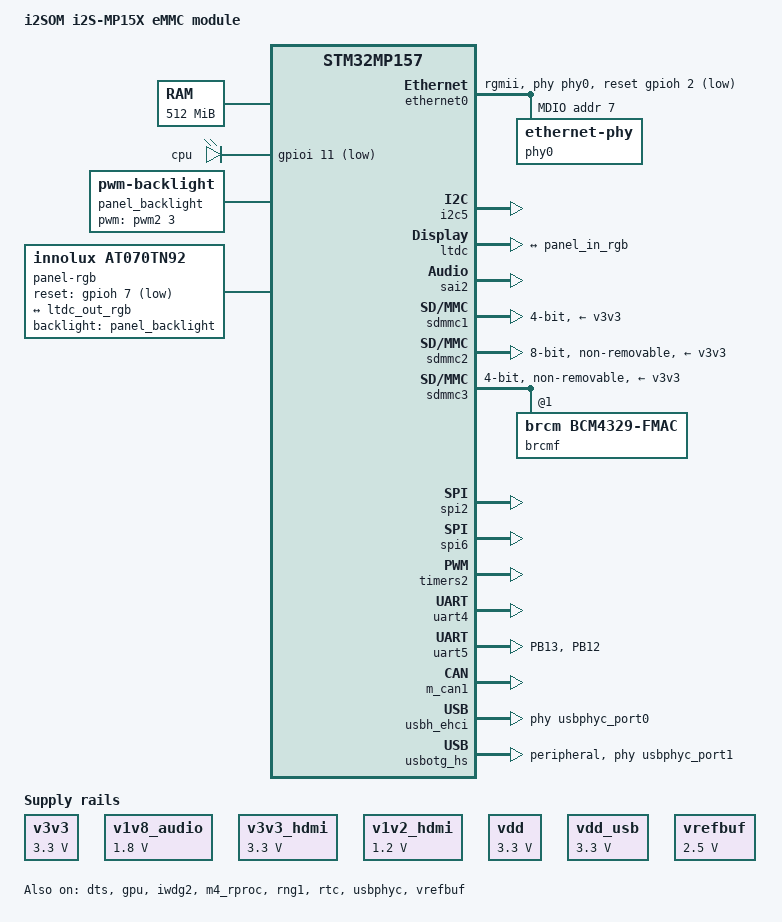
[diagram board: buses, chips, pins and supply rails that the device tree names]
// SPDX-License-Identifier: (GPL-2.0+ OR BSD-3-Clause)
/*
 * Copyright (C) STMicroelectronics 2018 - All Rights Reserved
 * Author: Alexandre Torgue <alexandre.torgue@st.com>.
 */

/dts-v1/;

#include "stm32mp157c.dtsi"
#include "stm32mp157c-m4-srm.dtsi"
#include "stm32mp157caa-pinctrl.dtsi"
#include <dt-bindings/gpio/gpio.h>
#include <dt-bindings/input/input.h>

/ {
	model = "i2SOM i2S-MP15X eMMC module";
	compatible = "i2som,i2cmp15xbe", "st,stm32mp157";

	aliases {
		ethernet0 = &ethernet0;
		serial0 = &uart4;
	};

	chosen {
		stdout-path = "serial0:115200n8";
	};

	memory@c0000000 {
		reg = <0xc0000000 0x20000000>;
	};

	reserved-memory {
		#address-cells = <1>;
		#size-cells = <1>;
		ranges;

		retram: retram@0x38000000 {
			compatible = "shared-dma-pool";
			reg = <0x38000000 0x10000>;
			no-map;
		};

		mcuram: mcuram@0x30000000 {
			compatible = "shared-dma-pool";
			reg = <0x30000000 0x40000>;
			no-map;
		};

		mcuram2: mcuram2@0x10000000 {
			compatible = "shared-dma-pool";
			reg = <0x10000000 0x40000>;
			no-map;
		};

		vdev0vring0: vdev0vring0@10040000 {
			compatible = "shared-dma-pool";
			reg = <0x10040000 0x2000>;
			no-map;
		};

		vdev0vring1: vdev0vring1@10042000 {
			compatible = "shared-dma-pool";
			reg = <0x10042000 0x2000>;
			no-map;
		};

		vdev0buffer: vdev0buffer@10044000 {
			compatible = "shared-dma-pool";
			reg = <0x10044000 0x4000>;
			no-map;
		};

		gpu_reserved: gpu@dc000000 {
			reg = <0xdc000000 0x4000000>;
			no-map;
		};
	};

	sram: sram@10050000 {
		compatible = "mmio-sram";
		reg = <0x10050000 0x10000>;
		#address-cells = <1>;
		#size-cells = <1>;
		ranges = <0 0x10050000 0x10000>;

		dma_pool: dma_pool@0 {
			reg = <0x0 0x10000>;
			pool;
		};
	};

	usb_phy_tuning: usb-phy-tuning {
		st,hs-dc-level = <2>;
		st,fs-rftime-tuning;
		st,hs-rftime-reduction;
		st,hs-current-trim = <15>;
		st,hs-impedance-trim = <1>;
		st,squelch-level = <3>;
		st,hs-rx-offset = <2>;
		st,no-lsfs-sc;
	};

	v3v3: regulator-3p3v {
		compatible = "regulator-fixed";
		regulator-name = "v3v3";
		regulator-min-microvolt = <3300000>;
		regulator-max-microvolt = <3300000>;
		regulator-always-on;
		regulator-boot-on;
	};

	v1v8_audio: regulator-v1v8-audio {
		compatible = "regulator-fixed";
		regulator-name = "v1v8_audio";
		regulator-min-microvolt = <1800000>;
		regulator-max-microvolt = <1800000>;
		regulator-always-on;
		regulator-boot-on;
	};

	v3v3_hdmi: regulator-v3v3-hdmi {
		compatible = "regulator-fixed";
		regulator-name = "v3v3_hdmi";
		regulator-min-microvolt = <3300000>;
		regulator-max-microvolt = <3300000>;
		regulator-always-on;
		regulator-boot-on;
	};

	v1v2_hdmi: regulator-v1v2-hdmi {
		compatible = "regulator-fixed";
		regulator-name = "v1v2_hdmi";
		regulator-min-microvolt = <1200000>;
		regulator-max-microvolt = <1200000>;
		regulator-always-on;
		regulator-boot-on;
	};

	vdd: regulator-vdd {
		compatible = "regulator-fixed";
		regulator-name = "vdd";
		regulator-min-microvolt = <3300000>;
		regulator-max-microvolt = <3300000>;
		regulator-always-on;
		regulator-boot-on;
	};

	vdd_usb: regulator-vdd-usb {
		compatible = "regulator-fixed";
		regulator-name = "vdd_usb";
		regulator-min-microvolt = <3300000>;
		regulator-max-microvolt = <3300000>;
		regulator-always-on;
		regulator-boot-on;
	};

	led {
		compatible = "gpio-leds";
		cpu {
			label = "cpu";
			gpios = <&gpioi 11 GPIO_ACTIVE_LOW>;
			linux,default-trigger = "heartbeat";
			default-state = "on";
		};
	};

	sound {
		compatible = "audio-graph-card";
		label = "wm8904-KenQue";
		mclk-fs = <256>;
		dai-format = "i2s";
		simple-audio-card,widgets =
			"Microphone", "Mic Jack",
			"Line", "Line In Jack",
			"Headphone", "Headphone Jack";
		simple-audio-card,routing =
			"Headphone Jack", "HPOUTL",
			"Headphone Jack", "HPOUTR",
			"MICBIAS", "Mic Jack",
			"IN1L", "MICBIAS",
			"IN2L", "Line In Jack",
			"IN2R", "Line In Jack";
		dais = <&sai2a_port &sai2b_port>;
		status = "okay";
	};


	panel_backlight: panel-backlight {
		compatible = "pwm-backlight";
		pwms = <&pwm2 3 5000000>;
		brightness-levels = <0 4 8 16 32 64 128 255>;
		default-brightness-level = <6>;
		status = "okay";
	};

	panel-rgb {
		compatible = "innolux,at070tn92";
		pinctrl-names = "default", "sleep";
		pinctrl-0 = <&ltdc_pins_c>;
		pinctrl-1 = <&ltdc_pins_sleep_c>;
		backlight = <&panel_backlight>;
		reset-gpios = <&gpioh 7 GPIO_ACTIVE_LOW>;
		status = "okay";

		port {
			panel_in_rgb: endpoint {
				remote-endpoint = <&ltdc_out_rgb>;
			};
		};
	};

	wifi-module {
		power-gpios = <&gpiog 10 GPIO_ACTIVE_LOW>;
		wifi-reg-gpios = <&gpiof 2 GPIO_ACTIVE_HIGH>;
		bt-reg-gpios = <&gpiog 3 GPIO_ACTIVE_HIGH>;
	};

	lte-module {
		power-gpios = <&gpiog 1 GPIO_ACTIVE_HIGH>;
	};
};

&pinctrl {

	pwm2_pins_b: pwm2-0 {
		pins {
			pinmux = <STM32_PINMUX('A', 3, AF1)>; /* TIM2_CH4 */
			bias-pull-down;
			drive-push-pull;
			slew-rate = <0>;
		};
	};

	pwm2_sleep_pins_b: pwm2-sleep-0 {
		pins {
			pinmux = <STM32_PINMUX('A', 3, ANALOG)>; /* TIM2_CH4 */
		};
	};

	uart5_pins_a: uart5-0 {
		pins1 {
			pinmux = <STM32_PINMUX('B', 13, AF14)>; /* UART5_TX */
			bias-disable;
			drive-push-pull;
			slew-rate = <0>;
		};
		pins2 {
			pinmux = <STM32_PINMUX('B', 12, AF14)>; /* UART5_RX */
			bias-disable;
		};
	};

	uart5_idle_pins_a: uart5-idle-0 {
		pins1 {
			pinmux = <STM32_PINMUX('B', 13, ANALOG)>; /* UART5_TX */
		};
		pins2 {
			pinmux = <STM32_PINMUX('B', 12, AF7)>; /* UART5_RX */
			bias-disable;
		};
	};

	uart5_sleep_pins_a: uart5-sleep-0 {
		pins {
			pinmux = <STM32_PINMUX('B', 13, ANALOG)>, /* UART5_TX */
				 <STM32_PINMUX('B', 12, ANALOG)>; /* UART5_RX */
		};
	};

	ltdc_pins_c: ltdc-c-0 {
		pins {
			pinmux = <STM32_PINMUX('I', 14, AF14)>, /* LCD_CLK */
				 <STM32_PINMUX('I', 12, AF14)>, /* LCD_HSYNC */
				 <STM32_PINMUX('I', 13, AF14)>, /* LCD_VSYNC */
				 <STM32_PINMUX('K',  7, AF14)>, /* LCD_DE */
				 <STM32_PINMUX('I', 15, AF14)>, /* LCD_R0 */
				 <STM32_PINMUX('J',  0, AF14)>, /* LCD_R1 */
				 <STM32_PINMUX('J',  1, AF14)>, /* LCD_R2 */
				 <STM32_PINMUX('J',  2, AF14)>, /* LCD_R3 */
				 <STM32_PINMUX('J',  3, AF14)>, /* LCD_R4 */
				 <STM32_PINMUX('J',  4, AF14)>, /* LCD_R5 */
				 <STM32_PINMUX('J',  5, AF14)>, /* LCD_R6 */
				 <STM32_PINMUX('J',  6, AF14)>, /* LCD_R7 */
				 <STM32_PINMUX('J',  7, AF14)>, /* LCD_G0 */
				 <STM32_PINMUX('J',  8, AF14)>, /* LCD_G1 */
				 <STM32_PINMUX('H', 13, AF14)>, /* LCD_G2 */
				 <STM32_PINMUX('H', 14, AF14)>, /* LCD_G3 */
				 <STM32_PINMUX('J', 11, AF14)>, /* LCD_G4 */
				 <STM32_PINMUX('H',  4, AF9)>,  /* LCD_G5 */
				 <STM32_PINMUX('I', 11, AF9)>,  /* LCD_G6 */
				 <STM32_PINMUX('K',  2, AF14)>, /* LCD_G7 */
				 <STM32_PINMUX('J', 12, AF14)>, /* LCD_B0 */
				 <STM32_PINMUX('J', 13, AF14)>, /* LCD_B1 */
				 <STM32_PINMUX('J', 14, AF14)>, /* LCD_B2 */
				 <STM32_PINMUX('J', 15, AF14)>, /* LCD_B3 */
				 <STM32_PINMUX('K',  3, AF14)>, /* LCD_B4 */
				 <STM32_PINMUX('K',  4, AF14)>, /* LCD_B5 */
				 <STM32_PINMUX('K',  5, AF14)>, /* LCD_B6 */
				 <STM32_PINMUX('K',  6, AF14)>; /* LCD_B7 */
			bias-disable;
			drive-push-pull;
			slew-rate = <1>;
		};
	};

	ltdc_pins_sleep_c: ltdc-c-1 {
		pins {
			pinmux = <STM32_PINMUX('I', 14, ANALOG)>, /* LCD_CLK */
				 <STM32_PINMUX('I', 12, ANALOG)>, /* LCD_HSYNC */
				 <STM32_PINMUX('I', 13, ANALOG)>, /* LCD_VSYNC */
				 <STM32_PINMUX('K',  7, ANALOG)>, /* LCD_DE */
				 <STM32_PINMUX('I', 15, ANALOG)>, /* LCD_R0 */
				 <STM32_PINMUX('J',  0, ANALOG)>, /* LCD_R1 */
				 <STM32_PINMUX('J',  1, ANALOG)>, /* LCD_R2 */
				 <STM32_PINMUX('J',  2, ANALOG)>, /* LCD_R3 */
				 <STM32_PINMUX('J',  3, ANALOG)>, /* LCD_R4 */
				 <STM32_PINMUX('J',  4, ANALOG)>, /* LCD_R5 */
				 <STM32_PINMUX('J',  5, ANALOG)>, /* LCD_R6 */
				 <STM32_PINMUX('J',  6, ANALOG)>, /* LCD_R7 */
				 <STM32_PINMUX('J',  7, ANALOG)>, /* LCD_G0 */
				 <STM32_PINMUX('J',  8, ANALOG)>, /* LCD_G1 */
				 <STM32_PINMUX('H', 13, ANALOG)>, /* LCD_G2 */
				 <STM32_PINMUX('H', 14, ANALOG)>, /* LCD_G3 */
				 <STM32_PINMUX('J', 11, ANALOG)>, /* LCD_G4 */
				 <STM32_PINMUX('H',  4, ANALOG)>, /* LCD_G5 */
				 <STM32_PINMUX('I', 11, ANALOG)>, /* LCD_G6 */
				 <STM32_PINMUX('K',  2, ANALOG)>, /* LCD_G7 */
				 <STM32_PINMUX('J', 12, ANALOG)>, /* LCD_B0 */
				 <STM32_PINMUX('J', 13, ANALOG)>, /* LCD_B1 */
				 <STM32_PINMUX('J', 14, ANALOG)>, /* LCD_B2 */
				 <STM32_PINMUX('J', 15, ANALOG)>, /* LCD_B3 */
				 <STM32_PINMUX('K',  3, ANALOG)>, /* LCD_B4 */
				 <STM32_PINMUX('K',  4, ANALOG)>, /* LCD_B5 */
				 <STM32_PINMUX('K',  5, ANALOG)>, /* LCD_B6 */
				 <STM32_PINMUX('K',  6, ANALOG)>; /* LCD_B7 */
		};
	};

};

&fmc {
	pinctrl-names = "default", "sleep";
	pinctrl-0 = <&fmc_pins_a>;
	pinctrl-1 = <&fmc_sleep_pins_a>;
	status = "disabled";
	#address-cells = <1>;
	#size-cells = <0>;

	nand: nand@0 {
		reg = <0>;
		nand-on-flash-bbt;
		#address-cells = <1>;
		#size-cells = <1>;
		nand-ecc-strength = <4>;
		nand-ecc-step-size = <512>;
	};
};

&cec {
	status = "disabled";
};

&dma1 {
	sram = <&dma_pool>;
};

&dma2 {
	sram = <&dma_pool>;
};

&dts {
	status = "okay";
};

&ethernet0 {
	pinctrl-0 = <&ethernet0_rgmii_pins_a>;
	pinctrl-1 = <&ethernet0_rgmii_pins_sleep_a>;
	pinctrl-names = "default", "sleep";
	phy-mode = "rgmii";
	max-speed = <1000>;
	phy-handle = <&phy0>;
	reset-gpios = <&gpioh 2 GPIO_ACTIVE_LOW>;
	status = "okay";

	mdio0 {
		#address-cells = <1>;
		#size-cells = <0>;
		compatible = "snps,dwmac-mdio";
		phy0: ethernet-phy@7 {
			reg = <7>;
		};
	};
};

&gpu {
	contiguous-area = <&gpu_reserved>;
	status = "okay";
};

&i2c2 {
	pinctrl-names = "default", "sleep";
	pinctrl-0 = <&i2c2_pins_a>;
	pinctrl-1 = <&i2c2_pins_sleep_a>;
	i2c-scl-rising-time-ns = <100>;
	i2c-scl-falling-time-ns = <7>;
	status = "disabled";
	/delete-property/dmas;
	/delete-property/dma-names;

	touchscreen: touchscreen@48 {
		compatible = "ti,tsc2007";
		reg = <0x48>;
		interrupt-parent = <&gpioi>;
		interrupts = <8 IRQ_TYPE_NONE>;
		gpios = <&gpioi 8 GPIO_ACTIVE_LOW>;
		ti,x-plate-ohms = <660>;
		wakeup-source;
		status = "okay";
	};
};

&i2c5 {
	pinctrl-names = "default", "sleep";
	pinctrl-0 = <&i2c5_pins_a>;
	pinctrl-1 = <&i2c5_pins_sleep_a>;
	i2c-scl-rising-time-ns = <100>;
	i2c-scl-falling-time-ns = <7>;
	status = "okay";
	/delete-property/dmas;
	/delete-property/dma-names;
};

&ipcc {
	status = "okay";
};

&iwdg2 {
	timeout-sec = <32>;
	status = "okay";
};

&ltdc {
	status = "okay";

	port {
		#address-cells = <1>;
		#size-cells = <0>;

		ltdc_out_rgb: endpoint {
			remote-endpoint = <&panel_in_rgb>;
		};

	};
};

&m4_rproc {
	memory-region = <&retram>, <&mcuram>, <&mcuram2>, <&vdev0vring0>,
			<&vdev0vring1>, <&vdev0buffer>;
	mboxes = <&ipcc 0>, <&ipcc 1>, <&ipcc 2>;
	mbox-names = "vq0", "vq1", "shutdown";
	interrupt-parent = <&exti>;
	interrupts = <68 1>;
	interrupt-names = "wdg";
	recovery;
	status = "okay";
};

&pwr {
	pwr-supply = <&vdd>;
};

&rng1 {
	status = "okay";
};

&rtc {
	status = "okay";
};

&sai2 {
	clocks = <&rcc SAI2>, <&rcc PLL3_Q>, <&rcc PLL3_R>;
	clock-names = "pclk", "x8k", "x11k";
	pinctrl-names = "default", "sleep";
	pinctrl-0 = <&sai2a_pins_a>, <&sai2b_pins_b>;
	pinctrl-1 = <&sai2a_sleep_pins_a>, <&sai2b_sleep_pins_b>;
	status = "okay";

	sai2a: audio-controller@4400b004 {
		#clock-cells = <0>;
		dma-names = "tx";
		clocks = <&rcc SAI2_K>;
		clock-names = "sai_ck";
		status = "okay";

		sai2a_port: port {
			sai2a_endpoint: endpoint {
				remote-endpoint = <&wm8904_tx_endpoint>;
				format = "i2s";
				mclk-fs = <256>;
				dai-tdm-slot-num = <2>;
				dai-tdm-slot-width = <16>;
			};
		};
	};

	sai2b: audio-controller@4400b024 {
		dma-names = "rx";
		st,sync = <&sai2a 2>;
		clocks = <&rcc SAI2_K>, <&sai2a>;
		clock-names = "sai_ck", "MCLK";
		status = "okay";

		sai2b_port: port {
			sai2b_endpoint: endpoint {
				remote-endpoint = <&wm8904_rx_endpoint>;
				format = "i2s";
				mclk-fs = <256>;
				dai-tdm-slot-num = <2>;
				dai-tdm-slot-width = <16>;
			};
		};
	};
};

&sdmmc1 {
	pinctrl-names = "default", "opendrain", "sleep";
	pinctrl-0 = <&sdmmc1_b4_pins_a>;
	pinctrl-1 = <&sdmmc1_b4_od_pins_a>;
	pinctrl-2 = <&sdmmc1_b4_sleep_pins_a>;
	broken-cd;
	st,neg-edge;
	bus-width = <4>;
	vmmc-supply = <&v3v3>;
	status = "okay";
};

/* emmc */
&sdmmc2 {
	pinctrl-names = "default", "opendrain", "sleep";
	pinctrl-0 = <&sdmmc2_b4_pins_b &sdmmc2_d47_pins_a>;
	pinctrl-1 = <&sdmmc2_b4_od_pins_b>;
	pinctrl-2 = <&sdmmc2_b4_sleep_pins_a &sdmmc2_d47_sleep_pins_a>;
	non-removable;
	st,neg-edge;
	bus-width = <8>;
	vmmc-supply = <&v3v3>;
	keep-power-in-suspend;
	status = "okay";
};

/* WiFi module */
&sdmmc3 {
	pinctrl-names = "default", "opendrain", "sleep";
	pinctrl-0 = <&sdmmc3_b4_pins_a>;
	pinctrl-1 = <&sdmmc3_b4_od_pins_a>;
	pinctrl-2 = <&sdmmc3_b4_sleep_pins_a>;
	vmmc-supply = <&v3v3>;
	mmc-pwrseq = <&wifi_pwrseq>;
	non-removable;
	st,neg-edge;
	#address-cells = <1>;
	#size-cells = <0>;
	keep-power-in-suspend;
	bus-width = <4>;
	no-1-8-v;
	status = "okay";

	brcmf: bcrmf@1 {
		reg = <1>;
		compatible = "brcm,bcm4329-fmac";
	};
};


&spi2 {
	pinctrl-names = "default", "sleep";
	pinctrl-0 = <&spi2_pins_a>;
	pinctrl-1 = <&spi2_sleep_pins_a>;
	status = "okay";
};

&spi6 {
	pinctrl-names = "default", "sleep";
	pinctrl-0 = <&spi6_pins_a>;
	pinctrl-1 = <&spi6_sleep_pins_a>;
	cs-gpios = <&gpioz 3 0>;
	status = "okay";
};

&timers2 {
	status = "okay";
	/* spare dmas for other usage */
	/delete-property/dmas;
	/delete-property/dma-names;
	pwm2: pwm {
		pinctrl-0 = <&pwm2_pins_b>;
		pinctrl-1 = <&pwm2_sleep_pins_b>;
		pinctrl-names = "default", "sleep";
		#pwm-cells = <2>;
		status = "okay";
	};
	timer@1 {
		status = "disabled";
	};
};

&uart4 {
	pinctrl-names = "default", "sleep", "idle", "no_console_suspend";
	pinctrl-0 = <&uart4_pins_a>;
	pinctrl-1 = <&uart4_sleep_pins_a>;
	pinctrl-2 = <&uart4_idle_pins_a>;
	pinctrl-3 = <&uart4_pins_a>;
	status = "okay";
};

&uart5 {
	pinctrl-names = "default", "sleep", "idle";
	pinctrl-0 = <&uart5_pins_a>;
	pinctrl-1 = <&uart5_sleep_pins_a>;
	pinctrl-2 = <&uart5_idle_pins_a>;
	status = "okay";
};

&usart3 {
	pinctrl-names = "default", "sleep", "idle";
	pinctrl-0 = <&usart3_pins_b>;
	pinctrl-1 = <&usart3_sleep_pins_b>;
	pinctrl-2 = <&usart3_idle_pins_b>;
	status = "disabled";
};

&m_can1 {
	pinctrl-names = "default", "sleep";
	pinctrl-0 = <&m_can1_pins_a>;
	pinctrl-1 = <&m_can1_sleep_pins_a>;
	status = "okay";
};

&usbh_ehci {
	phys = <&usbphyc_port0>;
	phy-names = "usb";
	status = "okay";
};

&usbotg_hs {
	dr_mode = "peripheral";
	force-b-session-valid;
	phys = <&usbphyc_port1 0>;
	phy-names = "usb2-phy";
	status = "okay";
};

&usbphyc {
	vdd3v3-supply = <&vdd_usb>;
	status = "okay";
};

&usbphyc_port0 {
	st,phy-tuning = <&usb_phy_tuning>;
};

&usbphyc_port1 {
	st,phy-tuning = <&usb_phy_tuning>;
};

&vrefbuf {
	regulator-min-microvolt = <2500000>;
	regulator-max-microvolt = <2500000>;
	vdda-supply = <&vdd>;
	status = "okay";
};
